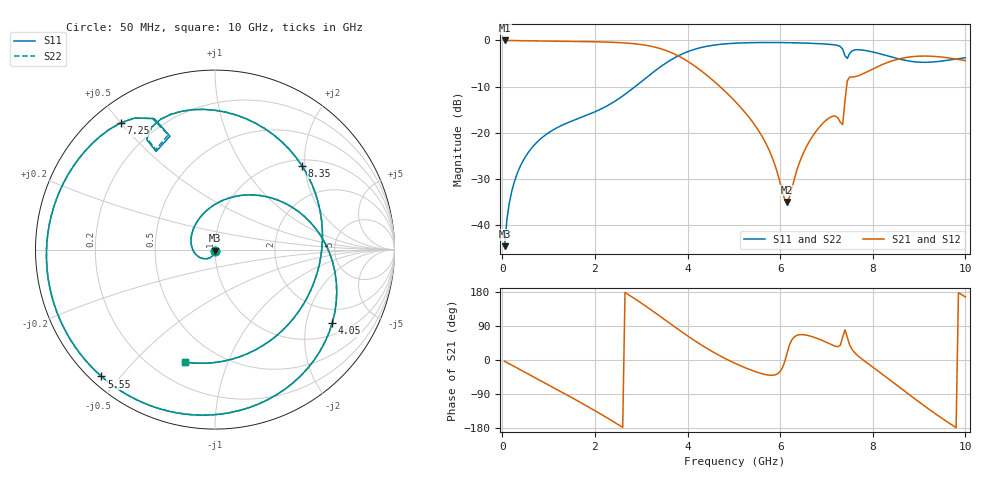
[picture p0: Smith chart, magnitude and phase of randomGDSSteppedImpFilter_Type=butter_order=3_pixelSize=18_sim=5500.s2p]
! freq	dB(S11)	phase(S11)	dB(S12)	phase(S12)
!  dB(S21)	phase(S21)	dB(S22)	phase(S22)
!S-par simulation data
#  GHz  S  DB  R 50
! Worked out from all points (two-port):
!   200 points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, 50 MHz to 10 GHz, reference 50 ohm
!   highest |S21| = -0.01 dB at 50 MHz (marker M1); lowest = -35.1 dB at 6.15 GHz (marker M2)
!   |S21| within 3 dB of the highest: start of sweep to 3.729 GHz
!   lowest |S11| = -44.6 dB at 50 MHz (marker M3), VSWR 1.01, Z = 50 - j0.587 ohm
!   |S11| at or under -10 dB: start of sweep to 2.871 GHz
!   |S22| runs from -44.6 to -0.5 dB; largest |S21 - S12| = 0
!   S11 on the Smith chart (normalised r, x): 50 MHz: 1.00, -0.01; 4.05 GHz: 1.41, -2.85; 5.55 GHz: 0.03, -0.45; 7.25 GHz: 0.08, +0.50; 8.35 GHz: 1.13, +1.93; 10 GHz: 0.33, -0.72
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0.05  -44.62 -90.1  -0.01 -3.3  -0.01 -3.3  -44.62 -90.1
0.2  -32.90 -102.2  -0.02 -13.2  -0.02 -13.2  -32.90 -102.2
0.5  -25.22 -123.1  -0.06 -32.9  -0.06 -32.9  -25.22 -123.0
1.15  -19.11 -166.7  -0.15 -75.7  -0.15 -75.7  -19.11 -166.6
1.75  -16.52 152.5  -0.24 -116.3  -0.24 -116.3  -16.52 152.7
2.6  -12.05 90.8  -0.52 -177.8  -0.52 -177.8  -12.05 90.9
3  -8.96 58.8  -0.90 150.2  -0.90 150.2  -8.96 58.8
3.4  -5.84 24.6  -1.74 116.0  -1.74 116.0  -5.84 24.6
4.05  -2.26 -32.0  -4.83 59.5  -4.83 59.5  -2.26 -32.1
4.55  -1.05 -70.6  -8.67 21.3  -8.67 21.3  -1.05 -70.7
5.05  -0.59 -103.3  -13.46 -10.0  -13.46 -10.0  -0.59 -103.4
5.55  -0.46 -131.8  -19.82 -34.1  -19.82 -34.1  -0.46 -131.9
6.15  -0.49 -164.0  -35.06 18.3  -35.06 18.3  -0.48 -164.0
6.7  -0.64 165.3  -20.79 61.2  -20.79 61.2  -0.64 165.4
7.25  -1.11 126.6  -16.84 35.2  -16.84 35.2  -1.10 127.0
7.35  -1.89 114.9  -18.24 60.6  -18.24 60.6  -1.84 115.5
7.45  -3.90 120.9  -8.78 59.7  -8.78 59.7  -3.77 120.7
7.8  -2.12 94.5  -7.18 -0.6  -7.18 -0.6  -2.11 94.6
8.35  -3.43 44.1  -4.67 -50.8  -4.67 -50.8  -3.43 44.4
9  -4.71 -18.3  -3.42 -110.9  -3.42 -110.9  -4.71 -17.9
9.5  -4.47 -63.8  -3.62 -154.4  -3.62 -154.4  -4.47 -63.6
10  -3.76 -104.8  -4.38 166.3  -4.38 166.3  -3.76 -104.9
